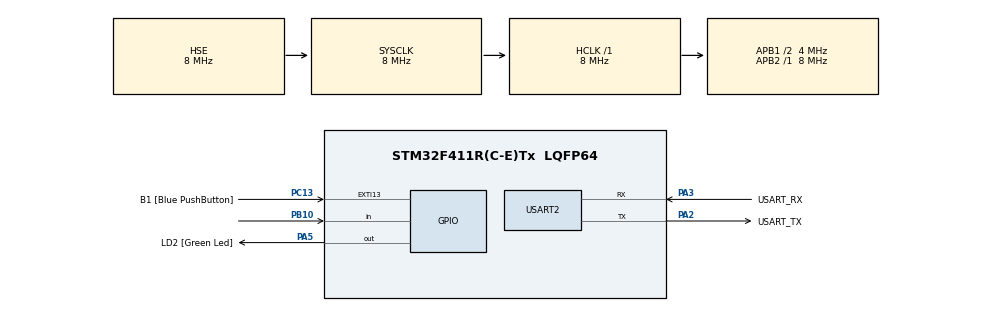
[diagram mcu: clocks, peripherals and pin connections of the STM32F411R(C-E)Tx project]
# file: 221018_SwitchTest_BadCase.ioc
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Mcu.Family=STM32F4
Mcu.Name=STM32F411R(C-E)Tx
Mcu.Package=LQFP64
NVIC.PriorityGroup=NVIC_PRIORITYGROUP_0
PA13.GPIO_Label=TMS
PA13.Mode=Serial_Wire
PA13.Signal=SYS_JTMS-SWDIO
PA14.GPIO_Label=TCK
PA14.Mode=Serial_Wire
PA14.Signal=SYS_JTCK-SWCLK
PA2.GPIO_Label=USART_TX
PA2.Mode=Asynchronous
PA2.Signal=USART2_TX
PA3.GPIO_Label=USART_RX
PA3.Mode=Asynchronous
PA3.Signal=USART2_RX
PA5.GPIO_Label=LD2 [Green Led]
PA5.GPIO_ModeDefaultOutputPP=GPIO_MODE_OUTPUT_PP
PA5.GPIO_PuPd=GPIO_NOPULL
PA5.Signal=GPIO_Output
PB10.GPIO_PuPd=GPIO_PULLUP
PB10.Signal=GPIO_Input
PB3.GPIO_Label=SWO
PB3.Signal=SYS_JTDO-SWO
PC13-ANTI_TAMP.GPIO_Label=B1 [Blue PushButton]
PC13-ANTI_TAMP.GPIO_ModeDefaultEXTI=GPIO_MODE_IT_FALLING
PC13-ANTI_TAMP.GPIO_PuPd=GPIO_PULLUP
PC13-ANTI_TAMP.Signal=GPXTI13
PC14-OSC32_IN.Mode=LSE-External-Oscillator
PC14-OSC32_IN.Signal=RCC_OSC32_IN
PC15-OSC32_OUT.Mode=LSE-External-Oscillator
PC15-OSC32_OUT.Signal=RCC_OSC32_OUT
PH0\ -\ OSC_IN.Mode=HSE-External-Clock-Source
PH0\ -\ OSC_IN.Signal=RCC_OSC_IN
PH1\ -\ OSC_OUT.Mode=HSE-External-Clock-Source
PH1\ -\ OSC_OUT.Signal=RCC_OSC_OUT
ProjectManager.HeapSize=0x200
ProjectManager.StackSize=0x400
ProjectManager.TargetToolchain=STM32CubeIDE
RCC.48MHZClocksFreq_Value=32000000
RCC.AHBFreq_Value=8000000
RCC.APB1CLKDivider=RCC_HCLK_DIV2
RCC.APB1Freq_Value=4000000
RCC.APB1TimFreq_Value=8000000
RCC.APB2Freq_Value=8000000
RCC.APB2TimFreq_Value=8000000
RCC.CortexFreq_Value=8000000
RCC.FLatency-AdvancedSettings=FLASH_LATENCY_0
RCC.HCLKFreq_Value=8000000
RCC.HSE_VALUE=8000000
RCC.HSI_VALUE=16000000
RCC.PLLM=8
RCC.PLLN=64
RCC.SYSCLKFreq_VALUE=8000000
RCC.SYSCLKSource=RCC_SYSCLKSOURCE_HSE
RCC.VCOOutputFreq_Value=128000000
USART2.VirtualMode=VM_ASYNC
board=NUCLEO-F411RE

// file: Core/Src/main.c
/* USER CODE BEGIN Header */
/**
 ******************************************************************************
 * @file           : main.c
 * @brief          : Main program body
 ******************************************************************************
 * @attention
 *
 * Copyright (c) 2022 STMicroelectronics.
 * All rights reserved.
 *
 * This software is licensed under terms that can be found in the LICENSE file
 * in the root directory of this software component.
 * If no LICENSE file comes with this software, it is provided AS-IS.
 *
 ******************************************************************************
 */
/* USER CODE END Header */
#include "main.h"

/* USER CODE BEGIN Includes */
#include <stdio.h>
#include <string.h>
#include <stdbool.h>

/* USER CODE END Includes */

UART_HandleTypeDef huart2;

void SystemClock_Config(void);
static void MX_GPIO_Init(void);
static void MX_USART2_UART_Init(void);

/* USER CODE BEGIN 0 */
#define long_key 2
#define short_key 3

/**********************check the button state**************************************/
int check_state() {
	int check_first = 1, check_after = 1;

	check_first = HAL_GPIO_ReadPin(GPIOC, GPIO_PIN_13); //check the first input
	if (check_first == 0) {
		HAL_Delay(1000); // 1sec
		check_after = HAL_GPIO_ReadPin(GPIOC, GPIO_PIN_13); //check the first input
	}

	while (1) { //check release
		if (HAL_GPIO_ReadPin(GPIOC, GPIO_PIN_13) == 1)
			break;
	}
	if (check_first == 0) {
		if (check_after == 0) {
			return 2;  //long
		} else {
			return 1;  //short
		}
	} else {
		return 0; //none
	}

}
/* USER CODE END 0 */

int main(void) {
	/* USER CODE BEGIN 1 */
	//int current = 0; //LED init Status...(LED OFF)
	/* USER CODE END 1 */

	/* MCU Configuration--------------------------------------------------------*/

	/* Reset of all peripherals, Initializes the Flash interface and the Systick. */
	HAL_Init();

	/* Configure the system clock */
	SystemClock_Config();

	/* Initialize all configured peripherals */
	MX_GPIO_Init();
	MX_USART2_UART_Init();
	/* USER CODE BEGIN 2 */

	int temp_state = 0;
	int button = 0; //none

	//int counting = 0;

	/* USER CODE END 2 */

	/* Infinite loop */
	/* USER CODE BEGIN WHILE */

	while (1) {

		button = check_state();
		/*
		 if (button) {
		 temp_state = button;
		 }
		 */
		if (button) {
			if (button == 1) {
				temp_state = 1;
			}
			else if (button == 2) {
				temp_state = 2;
			}
		}
//////////////////////////////////////////////////////
		if (temp_state == 1) { //short - fast
			HAL_GPIO_TogglePin(GPIOA, GPIO_PIN_5);
			HAL_Delay(500);
		}
		else if (temp_state == 2){ //long - slow
			HAL_GPIO_TogglePin(GPIOA, GPIO_PIN_5);
			HAL_Delay(1000);
		}
	}
}

/* USER CODE END WHILE */

void SystemClock_Config(void) {
	RCC_OscInitTypeDef RCC_OscInitStruct = { 0 };
	RCC_ClkInitTypeDef RCC_ClkInitStruct = { 0 };

	/** Configure the main internal regulator output voltage
	 */
	__HAL_RCC_PWR_CLK_ENABLE();
	__HAL_PWR_VOLTAGESCALING_CONFIG(PWR_REGULATOR_VOLTAGE_SCALE1);

	/** Initializes the RCC Oscillators according to the specified parameters
	 * in the RCC_OscInitTypeDef structure.
	 */
	RCC_OscInitStruct.OscillatorType = RCC_OSCILLATORTYPE_HSE;
	RCC_OscInitStruct.HSEState = RCC_HSE_BYPASS;
	RCC_OscInitStruct.PLL.PLLState = RCC_PLL_NONE;
	if (HAL_RCC_OscConfig(&RCC_OscInitStruct) != HAL_OK) {
		Error_Handler();
	}

	/** Initializes the CPU, AHB and APB buses clocks
	 */
	RCC_ClkInitStruct.ClockType = RCC_CLOCKTYPE_HCLK | RCC_CLOCKTYPE_SYSCLK
			| RCC_CLOCKTYPE_PCLK1 | RCC_CLOCKTYPE_PCLK2;
	RCC_ClkInitStruct.SYSCLKSource = RCC_SYSCLKSOURCE_HSE;
	RCC_ClkInitStruct.AHBCLKDivider = RCC_SYSCLK_DIV1;
	RCC_ClkInitStruct.APB1CLKDivider = RCC_HCLK_DIV2;
	RCC_ClkInitStruct.APB2CLKDivider = RCC_HCLK_DIV1;

	if (HAL_RCC_ClockConfig(&RCC_ClkInitStruct, FLASH_LATENCY_0) != HAL_OK) {
		Error_Handler();
	}
}

static void MX_USART2_UART_Init(void) {

	huart2.Instance = USART2;
	huart2.Init.BaudRate = 115200;
	huart2.Init.WordLength = UART_WORDLENGTH_8B;
	huart2.Init.StopBits = UART_STOPBITS_1;
	huart2.Init.Parity = UART_PARITY_NONE;
	huart2.Init.Mode = UART_MODE_TX_RX;
	huart2.Init.HwFlowCtl = UART_HWCONTROL_NONE;
	huart2.Init.OverSampling = UART_OVERSAMPLING_16;
	if (HAL_UART_Init(&huart2) != HAL_OK) {
		Error_Handler();
	}

}

static void MX_GPIO_Init(void) {
	GPIO_InitTypeDef GPIO_InitStruct = { 0 };

	/* GPIO Ports Clock Enable */
	__HAL_RCC_GPIOC_CLK_ENABLE();
	__HAL_RCC_GPIOH_CLK_ENABLE();
	__HAL_RCC_GPIOA_CLK_ENABLE();
	__HAL_RCC_GPIOB_CLK_ENABLE();

	/*Configure GPIO pin Output Level */
	HAL_GPIO_WritePin(LD2_GPIO_Port, LD2_Pin, GPIO_PIN_RESET);

	/*Configure GPIO pin : B1_Pin */
	GPIO_InitStruct.Pin = B1_Pin;
	GPIO_InitStruct.Mode = GPIO_MODE_INPUT;
	GPIO_InitStruct.Pull = GPIO_PULLUP;
	HAL_GPIO_Init(B1_GPIO_Port, &GPIO_InitStruct);

	/*Configure GPIO pin : LD2_Pin */
	GPIO_InitStruct.Pin = LD2_Pin;
	GPIO_InitStruct.Mode = GPIO_MODE_OUTPUT_PP;
	GPIO_InitStruct.Pull = GPIO_NOPULL;
	GPIO_InitStruct.Speed = GPIO_SPEED_FREQ_LOW;
	HAL_GPIO_Init(LD2_GPIO_Port, &GPIO_InitStruct);

	/*Configure GPIO pin : PB10 */
	GPIO_InitStruct.Pin = GPIO_PIN_10;
	GPIO_InitStruct.Mode = GPIO_MODE_INPUT;
	GPIO_InitStruct.Pull = GPIO_PULLUP;
	HAL_GPIO_Init(GPIOB, &GPIO_InitStruct);

}

void Error_Handler(void) {
	__disable_irq();
	while (1) {
	}
}
